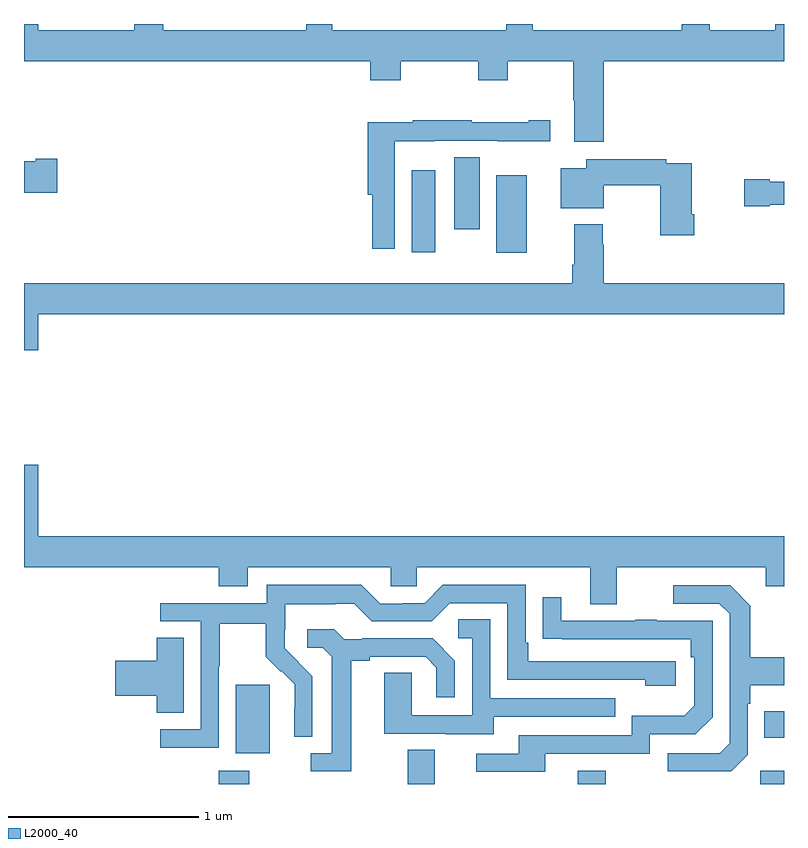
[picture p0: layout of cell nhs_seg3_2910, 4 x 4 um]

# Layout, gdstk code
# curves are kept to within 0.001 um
import gdstk
lib = gdstk.Library(unit=1e-6, precision=1e-09)
def R(c, l, rs):  # rectangles x0, y0, x1, y1
    for r in rs: c.add(gdstk.rectangle(r[:2], r[2:], *l))
def P(c, l, *ps):  # polygons
    for p in ps: c.add(gdstk.Polygon(p, *l))
L2000_40 = (2000, 40)

nhs_seg3_2910 = lib.new_cell('nhs_seg3_2910')
R(nhs_seg3_2910, L2000_40, [(262.025,742.4,262.185,742.471), (263.021,742.4,263.161,742.58), (263.915,742.4,264.063,742.471), (264.876,742.4,265,742.471), (262.115,742.562,262.294,742.923), (264.895,742.643,265,742.783), (263.486,745.197,263.647,745.603), (263.042,745.2,263.164,745.63), (263.264,745.32,263.398,745.7)])
P(nhs_seg3_2910, L2000_40, [(264.05,746.204),(265,746.204),(265,746.4),(264.953,746.4),(264.953,746.368),(264.609,746.368),(264.609,746.4),(264.461,746.4),(264.461,746.368),(263.677,746.368),(263.677,746.4),(263.537,746.4),(263.537,746.368),(262.623,746.368),(262.623,746.4),(262.485,746.4),(262.485,746.368),(261.733,746.368),(261.733,746.4),(261.581,746.4),(261.581,746.368),(261.076,746.368),(261.076,746.4),(261,746.4),(261,746.204),(262.823,746.204),(262.823,746.105),(262.983,746.105),(262.983,746.204),(263.392,746.204),(263.392,746.105),(263.547,746.105),(263.547,746.204),(263.89,746.204),(263.89,746),(263.897,746),(263.897,745.779),(264.05,745.779)],
  [(262.95,745.784),(263.16,745.784),(263.16,745.785),(263.494,745.785),(263.494,745.784),(263.77,745.784),(263.77,745.894),(263.657,745.894),(263.657,745.884),(263.357,745.884),(263.357,745.894),(263.047,745.894),(263.047,745.884),(262.808,745.884),(262.808,745.502),(262.834,745.502),(262.834,745.218),(262.95,745.218)],
  [(261.175,745.691),(261.062,745.691),(261.062,745.678),(261,745.678),(261,745.513),(261.175,745.513)],
  [(264.527,745.399),(264.514,745.399),(264.514,745.668),(264.38,745.668),(264.38,745.688),(263.958,745.688),(263.958,745.642),(263.825,745.642),(263.825,745.43),(264.052,745.43),(264.052,745.552),(264.349,745.552),(264.349,745.287),(264.527,745.287)],
  [(264.924,745.448),(265,745.448),(265,745.57),(264.924,745.57),(264.924,745.583),(264.792,745.583),(264.792,745.441),(264.924,745.441)],
  [(261.076,744.872),(265,744.872),(265,745.036),(264.05,745.036),(264.05,745.238),(264.045,745.238),(264.045,745.345),(263.897,745.345),(263.897,745.132),(263.885,745.132),(263.885,745.036),(261,745.036),(261,744.684),(261.076,744.684)],
  [(264.121,743.54),(264.905,743.54),(264.905,743.441),(265,743.441),(265,743.704),(261.076,743.704),(261.076,744.079),(261,744.079),(261,743.54),(262.025,743.54),(262.025,743.441),(262.177,743.441),(262.177,743.54),(262.929,743.54),(262.929,743.442),(263.067,743.442),(263.067,743.54),(263.981,743.54),(263.981,743.346),(264.121,743.346)],
  [(262.026,743.02),(262.029,743.02),(262.029,743.244),(262.273,743.244),(262.273,743.069),(262.35,742.992),(262.353,742.995),(262.424,742.925),(262.424,742.802),(262.422,742.802),(262.422,742.648),(262.518,742.648),(262.518,742.966),(262.372,743.114),(262.372,743.211),(262.374,743.211),(262.374,743.345),(262.637,743.345),(262.637,743.349),(262.737,743.349),(262.83,743.256),(263.145,743.256),(263.241,743.352),(263.544,743.352),(263.544,742.95),(264.269,742.95),(264.269,742.916),(264.43,742.916),(264.43,743.046),(263.653,743.046),(263.653,743.143),(263.64,743.143),(263.64,743.448),(263.205,743.448),(263.109,743.352),(262.991,743.352),(262.991,743.349),(262.875,743.349),(262.775,743.449),(262.278,743.449),(262.278,743.352),(261.717,743.352),(261.717,743.256),(261.93,743.256),(261.93,742.689),(261.717,742.689),(261.717,742.591),(262.026,742.591)],
  [(264.81,742.554),(264.81,742.823),(264.823,742.823),(264.823,742.919),(265,742.919),(265,743.067),(264.823,743.067),(264.823,743.339),(264.717,743.445),(264.417,743.445),(264.417,743.349),(264.66,743.349),(264.714,743.295),(264.714,742.614),(264.663,742.563),(264.387,742.563),(264.387,742.467),(264.723,742.467)],
  [(263.743,742.56),(264.294,742.56),(264.294,742.662),(264.534,742.662),(264.624,742.752),(264.624,743.259),(264.329,743.259),(264.329,743.264),(264.217,743.264),(264.217,743.259),(263.827,743.259),(263.827,743.383),(263.731,743.383),(263.731,743.164),(264.508,743.163),(264.508,743.066),(264.528,743.066),(264.528,742.812),(264.475,742.759),(264.198,742.759),(264.198,742.656),(263.603,742.656),(263.603,742.56),(263.379,742.56),(263.379,742.464),(263.743,742.464)],
  [(263.473,742.755),(264.113,742.755),(264.113,742.851),(263.454,742.851),(263.454,743.267),(263.286,743.267),(263.286,743.166),(263.358,743.166),(263.358,742.761),(263.04,742.761),(263.04,742.985),(262.895,742.985),(262.895,742.665),(263.219,742.665),(263.219,742.661),(263.473,742.661)],
  [(262.723,743.048),(262.819,743.048),(262.819,743.07),(263.114,743.07),(263.171,743.013),(263.171,742.857),(263.268,742.857),(263.268,743.05),(263.152,743.166),(262.78,743.166),(262.78,743.163),(262.686,743.163),(262.634,743.215),(262.491,743.215),(262.491,743.118),(262.572,743.118),(262.619,743.071),(262.619,742.563),(262.509,742.563),(262.509,742.467),(262.723,742.467)],
  [(261.841,743.171),(261.698,743.171),(261.698,743.048),(261.48,743.048),(261.48,742.865),(261.698,742.865),(261.698,742.774),(261.841,742.774)])

lib.write_gds('nhs_seg3_2910.gds')
